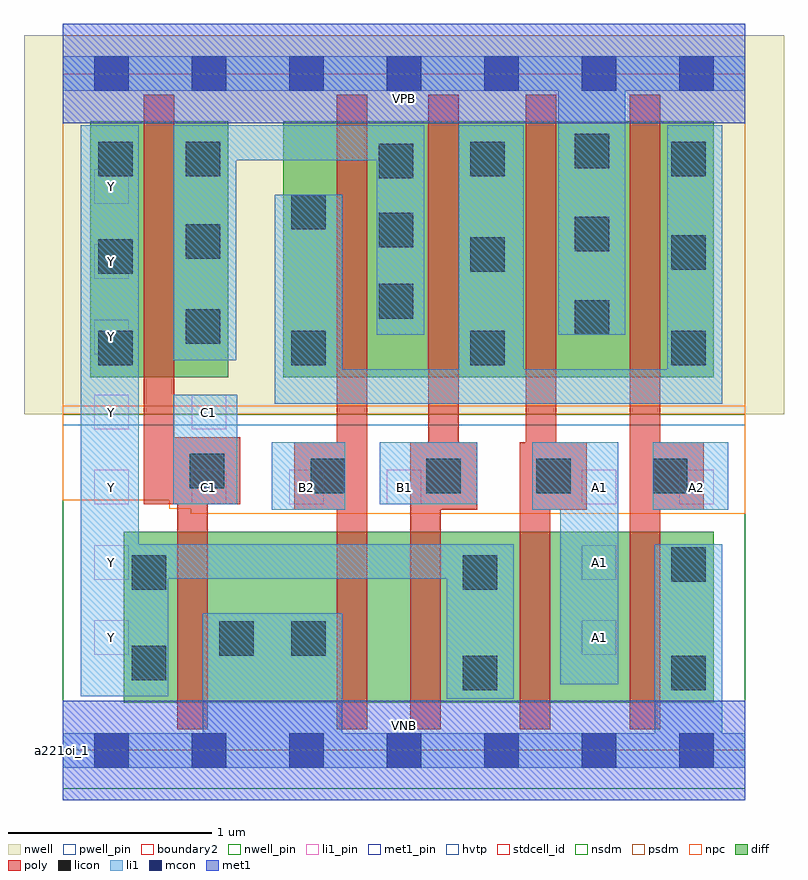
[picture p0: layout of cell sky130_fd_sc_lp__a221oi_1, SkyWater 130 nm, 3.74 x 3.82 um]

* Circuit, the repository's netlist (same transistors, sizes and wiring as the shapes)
* Copyright 2020 The SkyWater PDK Authors
*
* Licensed under the Apache License, Version 2.0 (the "License");
* you may not use this file except in compliance with the License.
* You may obtain a copy of the License at
*
*     https://www.apache.org/licenses/LICENSE-2.0
*
* Unless required by applicable law or agreed to in writing, software
* distributed under the License is distributed on an "AS IS" BASIS,
* WITHOUT WARRANTIES OR CONDITIONS OF ANY KIND, either express or implied.
* See the License for the specific language governing permissions and
* limitations under the License.
*
* SPDX-License-Identifier: Apache-2.0

.SUBCKT sky130_fd_sc_lp__a221oi_1 A1 A2 B1 B2 C1 VGND VNB VPB VPWR Y
*.PININFO A1:I A2:I B1:I B2:I C1:I VGND:I VNB:I VPB:I VPWR:I Y:O
MMPA0 pndA A1 VPWR VPB sky130_fd_pr__pfet_01v8_hvt m=1 w=1.26U l=0.15U mult=1 sa=0.265
+ sb=0.265 sd=0.28 area=0.063 perim=1.14
MMPA1 pndA A2 VPWR VPB sky130_fd_pr__pfet_01v8_hvt m=1 w=1.26U l=0.15U mult=1 sa=0.265
+ sb=0.265 sd=0.28 area=0.063 perim=1.14
MMPB0 pndB B1 pndA VPB sky130_fd_pr__pfet_01v8_hvt m=1 w=1.26U l=0.15U mult=1 sa=0.265
+ sb=0.265 sd=0.28 area=0.063 perim=1.14
MMPB1 pndB B2 pndA VPB sky130_fd_pr__pfet_01v8_hvt m=1 w=1.26U l=0.15U mult=1 sa=0.265
+ sb=0.265 sd=0.28 area=0.063 perim=1.14
MMPC0 Y C1 pndB VPB sky130_fd_pr__pfet_01v8_hvt m=1 w=1.26U l=0.15U mult=1 sa=0.265
+ sb=0.265 sd=0.28 area=0.063 perim=1.14
MMNA0 Y A1 sndA1 VNB sky130_fd_pr__nfet_01v8 m=1 w=0.84U l=0.15U mult=1 sa=0.265
+ sb=0.265 sd=0.28 area=0.063 perim=1.14
MMNA1 sndA1 A2 VGND VNB sky130_fd_pr__nfet_01v8 m=1 w=0.84U l=0.15U mult=1 sa=0.265
+ sb=0.265 sd=0.28 area=0.063 perim=1.14
MMNB0 Y B1 sndB1 VNB sky130_fd_pr__nfet_01v8 m=1 w=0.84U l=0.15U mult=1 sa=0.265
+ sb=0.265 sd=0.28 area=0.063 perim=1.14
MMNB1 sndB1 B2 VGND VNB sky130_fd_pr__nfet_01v8 m=1 w=0.84U l=0.15U mult=1 sa=0.265
+ sb=0.265 sd=0.28 area=0.063 perim=1.14
MMNC0 Y C1 VGND VNB sky130_fd_pr__nfet_01v8 m=1 w=0.84U l=0.15U mult=1 sa=0.265
+ sb=0.265 sd=0.28 area=0.063 perim=1.14
.ENDS sky130_fd_sc_lp__a221oi_1

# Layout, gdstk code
import gdstk
lib = gdstk.Library(unit=1e-6, precision=1e-09)
def R(c, l, rs):  # rectangles x0, y0, x1, y1
    for r in rs: c.add(gdstk.rectangle(r[:2], r[2:], *l))
def A(c, l, x, y, w, h, nx, ny, dx, dy):  # array of equal rectangles
    R(c, l, [(x+i*dx, y+j*dy, x+i*dx+w, y+j*dy+h) for i in range(nx) for j in range(ny)])
def P(c, l, *ps):  # polygons
    for p in ps: c.add(gdstk.Polygon(p, *l))
nwell_pin = (64, 16)
nwell = (64, 20)
diff = (65, 20)
poly = (66, 20)
licon = (66, 44)
li1_pin = (67, 16)
li1 = (67, 20)
mcon = (67, 44)
met1_pin = (68, 16)
met1 = (68, 20)
hvtp = (78, 44)
stdcell_id = (81, 4)
nsdm = (93, 44)
psdm = (94, 20)
npc = (95, 20)
pwell_pin = (122, 16)
boundary2 = (236, 0)

sky130_fd_sc_lp__a221oi_ = lib.new_cell('sky130_fd_sc_lp__a221oi_1')
R(sky130_fd_sc_lp__a221oi_, nwell_pin, [(0,3.085,3.36,3.33)])
R(sky130_fd_sc_lp__a221oi_, nwell, [(-0.19,1.655,3.55,3.52)])
R(sky130_fd_sc_lp__a221oi_, diff, [(0.3,0.235,3.205,1.075), (0.135,1.835,0.815,3.095), (1.085,1.835,3.205,3.095)])
P(sky130_fd_sc_lp__a221oi_, poly, [(2.58,1.515),(2.43,1.515),(2.43,3.225),(2.28,3.225),(2.28,1.515),(2.25,1.515),(2.25,0.105),(2.4,0.105),(2.4,1.185),(2.58,1.185)],
  [(3.155,1.515),(2.94,1.515),(2.94,3.225),(2.79,3.225),(2.79,0.105),(2.94,0.105),(2.94,1.185),(3.155,1.185)],
  [(1.5,3.225),(1.35,3.225),(1.35,1.515),(1.14,1.515),(1.14,1.185),(1.35,1.185),(1.35,0.105),(1.5,0.105)],
  [(2.04,1.515),(1.95,1.515),(1.95,3.225),(1.8,3.225),(1.8,1.515),(1.71,1.515),(1.71,0.105),(1.86,0.105),(1.86,1.185),(2.04,1.185)],
  [(0.875,1.54),(0.55,1.54),(0.55,3.225),(0.4,3.225),(0.4,1.21),(0.565,1.21),(0.565,0.105),(0.715,0.105),(0.715,1.21),(0.875,1.21)])
A(sky130_fd_sc_lp__a221oi_, licon, 2.52, 2.045, 0.17, 0.17, 1, 3, 0, 0.41)
R(sky130_fd_sc_lp__a221oi_, licon, [(1.97,0.295,2.14,0.465), (2.995,0.295,3.165,0.465), (0.34,0.345,0.51,0.515), (0.77,0.465,0.94,0.635), (1.125,0.465,1.295,0.635), (0.34,0.79,0.51,0.96), (1.97,0.79,2.14,0.96), (2.995,0.83,3.165,1), (1.22,1.265,1.39,1.435), (1.79,1.265,1.96,1.435), (2.33,1.265,2.5,1.435), (2.905,1.265,3.075,1.435), (0.625,1.29,0.795,1.46), (0.175,1.895,0.345,2.065), (1.125,1.895,1.295,2.065), (2.005,1.895,2.175,2.065), (2.995,1.895,3.165,2.065), (0.605,2,0.775,2.17), (1.555,2.125,1.725,2.295), (0.175,2.345,0.345,2.515), (2.005,2.355,2.175,2.525), (2.995,2.365,3.165,2.535), (0.605,2.42,0.775,2.59), (1.555,2.475,1.725,2.645), (1.125,2.565,1.295,2.735), (1.555,2.815,1.725,2.985), (0.175,2.825,0.345,2.995), (0.605,2.825,0.775,2.995), (2.005,2.825,2.175,2.995), (2.995,2.825,3.165,2.995)])
A(sky130_fd_sc_lp__a221oi_, li1_pin, 2.555, 0.47, 0.17, 0.17, 1, 3, 0, 0.37)
A(sky130_fd_sc_lp__a221oi_, li1_pin, 0.155, 1.21, 0.17, 0.17, 4, 1, 0.48, 0)
A(sky130_fd_sc_lp__a221oi_, li1_pin, 0.155, 1.58, 0.17, 0.17, 1, 4, 0, 0.37)
R(sky130_fd_sc_lp__a221oi_, li1_pin, [(0.155,0.47,0.325,0.64), (0.155,0.84,0.325,1.01), (3.035,1.21,3.205,1.38), (0.635,1.58,0.805,1.75)])
R(sky130_fd_sc_lp__a221oi_, li1, [(1.03,1.185,1.39,1.515), (2.905,1.185,3.275,1.515), (0.545,1.21,0.86,1.75), (1.56,1.21,2.04,1.515)])
P(sky130_fd_sc_lp__a221oi_, li1, [(1.78,3.075),(0.545,3.075),(0.545,1.92),(0.855,1.92),(0.855,2.905),(1.545,2.905),(1.545,2.045),(1.78,2.045)],
  [(3.36,0.085),(3.245,0.085),(3.245,1.015),(2.915,1.015),(2.915,0.085),(1.375,0.085),(1.375,0.675),(0.69,0.675),(0.69,0.085),(0,0.085),(0,-0.085),(3.36,-0.085)],
  [(3.36,3.415),(0,3.415),(0,3.245),(2.44,3.245),(2.44,2.045),(2.77,2.045),(2.77,3.245),(3.36,3.245)],
  [(2.22,1.015),(0.375,1.015),(0.375,3.075),(0.09,3.075),(0.09,0.265),(0.52,0.265),(0.52,0.845),(1.89,0.845),(1.89,0.255),(2.22,0.255)],
  [(3.245,3.075),(2.975,3.075),(2.975,1.875),(2.27,1.875),(2.27,3.075),(1.95,3.075),(1.95,1.875),(1.375,1.875),(1.375,2.735),(1.045,2.735),(1.045,1.705),(3.245,1.705)],
  [(2.735,1.515),(2.31,1.515),(2.31,1.185),(2.45,1.185),(2.45,0.325),(2.735,0.325)])
A(sky130_fd_sc_lp__a221oi_, mcon, 0.155, -0.085, 0.17, 0.17, 7, 2, 0.48, 3.33)
R(sky130_fd_sc_lp__a221oi_, met1_pin, [(0,0,3.36,0.245), (0,3.085,3.36,3.33)])
R(sky130_fd_sc_lp__a221oi_, met1, [(0,-0.245,3.36,0.245), (0,3.085,3.36,3.575)])
R(sky130_fd_sc_lp__a221oi_, hvtp, [(0,1.6,3.36,3.33)])
R(sky130_fd_sc_lp__a221oi_, stdcell_id, [(0,0,3.36,3.33)])
R(sky130_fd_sc_lp__a221oi_, nsdm, [(0,-0.19,3.36,1.655)])
R(sky130_fd_sc_lp__a221oi_, psdm, [(0,1.655,3.36,3.52)])
P(sky130_fd_sc_lp__a221oi_, npc, [(3.36,1.695),(0,1.695),(0,1.23),(0.525,1.23),(0.525,1.19),(0.63,1.19),(0.63,1.165),(3.36,1.165)])
R(sky130_fd_sc_lp__a221oi_, pwell_pin, [(0,0,3.36,0.245)])
R(sky130_fd_sc_lp__a221oi_, boundary2, [(0,0,3.36,3.33)])
sky130_fd_sc_lp__a221oi_.add(gdstk.Label('VNB', (1.68,0.123), layer=64, texttype=59))
sky130_fd_sc_lp__a221oi_.add(gdstk.Label('VPB', (1.68,3.208), layer=64, texttype=5))
sky130_fd_sc_lp__a221oi_.add(gdstk.Label('a221oi_1', (0,0), layer=83, texttype=44))
sky130_fd_sc_lp__a221oi_.add(gdstk.Label('VPWR', (1.68,3.208), layer=68, texttype=5))
sky130_fd_sc_lp__a221oi_.add(gdstk.Label('VGND', (1.68,0.123), layer=68, texttype=5))
sky130_fd_sc_lp__a221oi_.add(gdstk.Label('A1', (2.64,0.555), layer=67, texttype=5))
sky130_fd_sc_lp__a221oi_.add(gdstk.Label('A1', (2.64,0.925), layer=67, texttype=5))
sky130_fd_sc_lp__a221oi_.add(gdstk.Label('A1', (2.64,1.295), layer=67, texttype=5))
sky130_fd_sc_lp__a221oi_.add(gdstk.Label('B1', (1.68,1.295), layer=67, texttype=5))
sky130_fd_sc_lp__a221oi_.add(gdstk.Label('C1', (0.72,1.295), layer=67, texttype=5))
sky130_fd_sc_lp__a221oi_.add(gdstk.Label('C1', (0.72,1.665), layer=67, texttype=5))
sky130_fd_sc_lp__a221oi_.add(gdstk.Label('Y', (0.24,0.555), layer=67, texttype=5))
sky130_fd_sc_lp__a221oi_.add(gdstk.Label('Y', (0.24,0.925), layer=67, texttype=5))
sky130_fd_sc_lp__a221oi_.add(gdstk.Label('Y', (0.24,1.295), layer=67, texttype=5))
sky130_fd_sc_lp__a221oi_.add(gdstk.Label('Y', (0.24,1.665), layer=67, texttype=5))
sky130_fd_sc_lp__a221oi_.add(gdstk.Label('Y', (0.24,2.035), layer=67, texttype=5))
sky130_fd_sc_lp__a221oi_.add(gdstk.Label('Y', (0.24,2.405), layer=67, texttype=5))
sky130_fd_sc_lp__a221oi_.add(gdstk.Label('Y', (0.24,2.775), layer=67, texttype=5))
sky130_fd_sc_lp__a221oi_.add(gdstk.Label('A2', (3.12,1.295), layer=67, texttype=5))
sky130_fd_sc_lp__a221oi_.add(gdstk.Label('B2', (1.2,1.295), layer=67, texttype=5))

lib.write_gds('sky130_fd_sc_lp__a221oi_1.gds')
